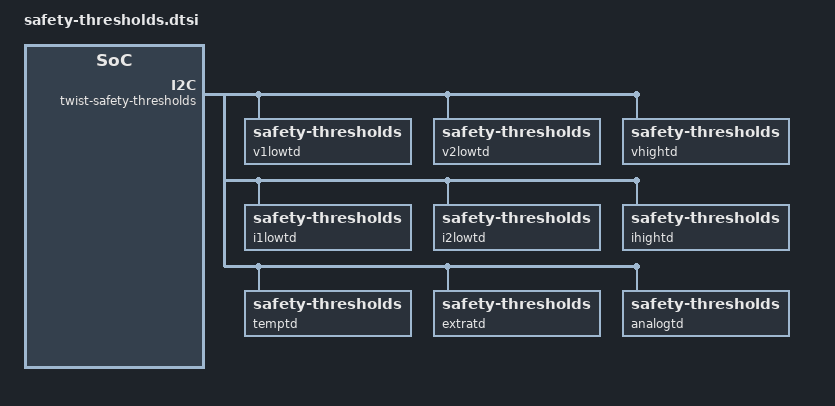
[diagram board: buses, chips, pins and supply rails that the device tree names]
/*
 * Copyright (c) 2024 OwnTech.
 *
 * SPDX-License-Identifier: LGPL-2.1
 */

/ {
	twist-safety-thresholds {

		/* Voltage thresholds */

		v1lowtd: v1-low-td {
			compatible = "safety-thresholds";
			sensor-name = "V1_LOW";
			threshold-name = "V1_LOW_TD";
			threshold-high = <0x428c0000>; /* 70.0 */
			threshold-low = <0xc1200000>; /* -10.0 */
		};

		v2lowtd: v2-low-td {
			compatible = "safety-thresholds";
			sensor-name = "V2_LOW";
			threshold-name = "V2_LOW_TD";
			threshold-high = <0x428c0000>; /* 70.0 */
			threshold-low = <0xc1200000>; /* -10.0 */
		};

		vhightd: v-high-td {
			compatible = "safety-thresholds";
			sensor-name = "V_HIGH";
			threshold-name = "V_HIGH_TD";
			threshold-high = <0x42c80000>; /* 100.0 */
			threshold-low = <0x41200000>; /* 10.0 */
		};

		/* Current thresholds */

		i1lowtd: i1-low-td {
			compatible = "safety-thresholds";
			sensor-name = "I1_LOW";
			threshold-name = "I1_LOW_TD";
			threshold-high = <0x40e00000>; /* 7.0 */
			threshold-low = <0xc0e00000>; /* -7.0 */
		};

		i2lowtd: i2-low-td {
			compatible = "safety-thresholds";
			sensor-name = "I2_LOW";
			threshold-name = "I2_LOW_TD";
			threshold-high = <0x40e00000>; /* 7.0 */
			threshold-low = <0xc0e00000>; /* -7.0 */
		};

		ihightd: i-high-td {
			compatible = "safety-thresholds";
			sensor-name = "I_HIGH";
			threshold-name = "I_HIGH_TD";
			threshold-high = <0x40e00000>; /* 7.0 */
			threshold-low = <0xc0e00000>; /* -7.0 */
		};

		/* Other channels thresholds */

		temptd: temp-sensor-td {
			compatible = "safety-thresholds";
			sensor-name = "TEMP_SENSOR";
			threshold-name = "TEMP_SENSOR_TD";
			threshold-high = <0x00000000>;
			threshold-low = <0x00000000>;
		};

		extratd: extra-sensor-td {
			compatible = "safety-thresholds";
			sensor-name = "EXTRA_MEAS";
			threshold-name = "EXTRA_MEAS_TD";
			threshold-high = <0x00000000>;
			threshold-low = <0x00000000>;
		};

		analogtd: analog-comm-td {
			compatible = "safety-thresholds";
			sensor-name = "ANALOG_COMM";
			threshold-name = "ANALOG_COMM_TD";
			threshold-high = <0x00000000>;
			threshold-low = <0x00000000>;
		};
	};
};
